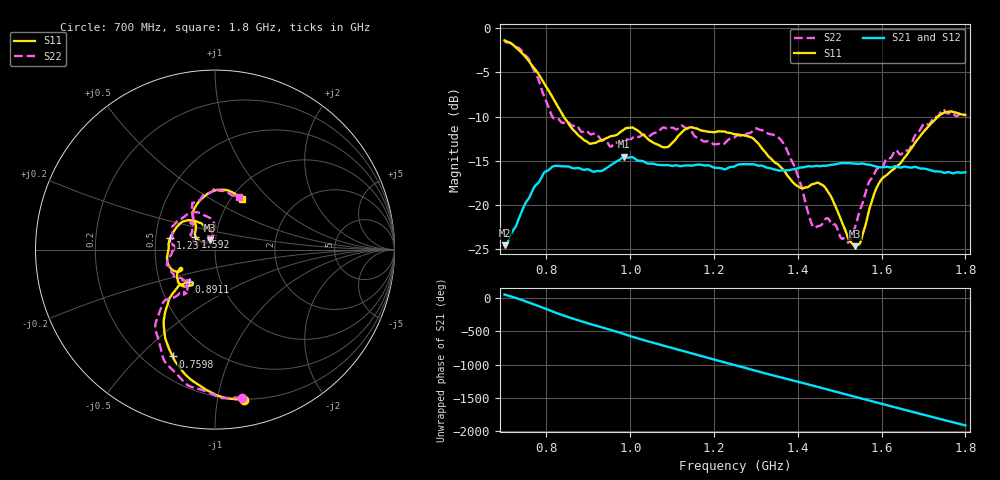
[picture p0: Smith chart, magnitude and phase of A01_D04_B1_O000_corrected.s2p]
! Created with skrf 1.9.0 (http://scikit-rf.org).
# Hz S RI R 50.0
!freq ReS11 ImS11 ReS21 ImS21 ReS12 ImS12 ReS22 ImS22
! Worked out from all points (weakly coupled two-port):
!   1601 points, 700 MHz to 1.8 GHz, reference 50 ohm
!   highest |S21| = -14.56 dB at 985.3 MHz (marker M1); lowest = -24.6 dB at 701.4 MHz (marker M2)
!   lowest |S11| = -24.7 dB at 1.537 GHz (marker M3), VSWR 1.12, Z = 47.1 + j4.86 ohm
!   |S11| at or under -10 dB: 840.9 MHz to 1.735 GHz (893.8 MHz wide, 69.4 % of centre)
!   |S22| runs from -24.3 to -1.5 dB; largest |S21 - S12| = 0.0035
!   S11 on the Smith chart (normalised r, x): 700 MHz: 0.19, -1.19; 759.8 MHz: 0.31, -0.63; 891.1 MHz: 0.70, -0.27; 1.23 GHz: 0.60, +0.08; 1.592 GHz: 0.80, +0.12; 1.8 GHz: 1.12, +0.71
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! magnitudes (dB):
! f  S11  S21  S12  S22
! 700 MHz  -1.4  -24.6  -24.4  -1.5
! 701.4 MHz  -1.4  -24.6  -24.2  -1.5
! 759.8 MHz  -3.9  -19.1  -18.9  -3.7
! 814.8 MHz  -7.9  -15.7  -15.7  -10.1
! 883.6 MHz  -12.4  -16.0  -15.8  -11.7
! 891.1 MHz  -12.7  -16.0  -16.0  -11.6
! 985.3 MHz  -11.5  -14.6  -14.7  -12.5
! 1.067 GHz  -13.2  -15.5  -15.4  -11.7
! 1.142 GHz  -11.2  -15.6  -15.5  -11.4
! 1.23 GHz  -11.8  -15.9  -15.8  -12.8
! 1.25 GHz  -12.0  -15.6  -15.5  -12.3
! 1.359 GHz  -15.7  -16.1  -16.1  -12.6
! 1.396 GHz  -17.8  -15.9  -15.9  -16.1
! 1.434 GHz  -17.7  -15.6  -15.6  -22.2
! 1.468 GHz  -18.2  -15.6  -15.5  -21.5
! 1.519 GHz  -23.6  -15.3  -15.3  -24.2
! 1.537 GHz  -24.7  -15.3  -15.3  -22.5
! 1.568 GHz  -20.9  -15.5  -15.4  -17.6
! 1.592 GHz  -17.7  -15.7  -15.7  -15.9
! 1.617 GHz  -16.4  -15.7  -15.7  -14.7
! 1.738 GHz  -9.9  -16.2  -16.3  -9.8
! 1.8 GHz  -9.8  -16.3  -16.3  -9.8
